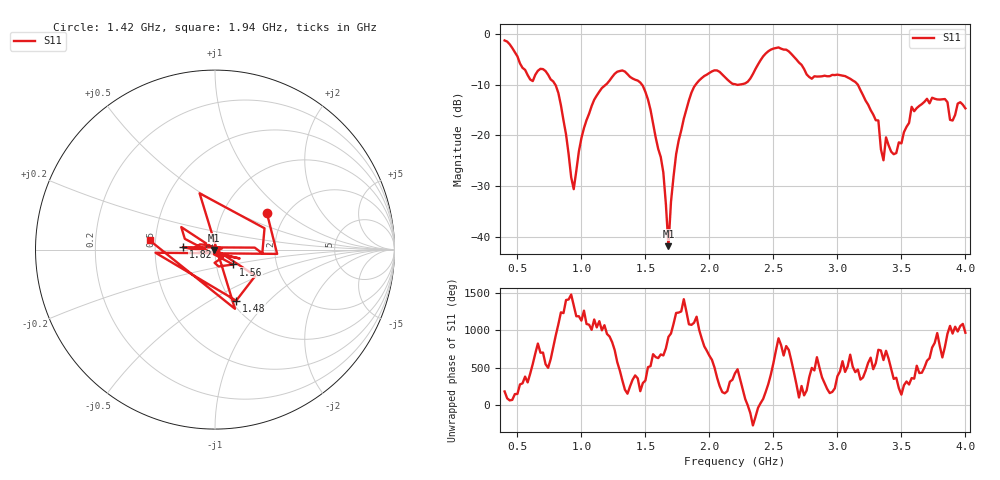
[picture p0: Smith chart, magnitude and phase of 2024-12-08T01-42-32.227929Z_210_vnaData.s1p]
!Created with skrf (http://scikit-rf.org).
# Hz S RI R 50.0
!freq ReS11 ImS11
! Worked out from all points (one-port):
!   181 points, 400 MHz to 4 GHz, reference 50 ohm
!   lowest |S11| = -41.8 dB at 1.68 GHz (marker M1), VSWR 1.02, Z = 49.2 - j0.187 ohm
!   |S11| at or under -10 dB: 795.8 MHz to 1.191 GHz (395 MHz wide, 39.8 % of centre); 1.473 GHz to 1.893 GHz (419.9 MHz wide, 25 % of centre); 3.16 GHz to end of sweep (the widest 3 of 4)
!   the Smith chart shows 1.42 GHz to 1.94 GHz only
!   S11 on the Smith chart (normalised r, x): 1.42 GHz: 1.60, +0.75; 1.48 GHz: 1.05, -0.66; 1.56 GHz: 1.21, -0.20; 1.82 GHz: 0.70, +0.02; 1.94 GHz: 0.46, +0.05
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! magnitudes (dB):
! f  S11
! 400 MHz  -1.3
! 600 MHz  -9.0
! 780 MHz  -9.4
! 860 MHz  -17.0
! 940 MHz  -30.6
! 1.08 GHz  -14.2
! 1.3 GHz  -7.3
! 1.42 GHz  -9.0
! 1.48 GHz  -10.2
! 1.56 GHz  -17.7
! 1.64 GHz  -27.3
! 1.68 GHz  -41.8
! 1.7 GHz  -33.1
! 1.76 GHz  -21.0
! 1.82 GHz  -14.9
! 1.94 GHz  -8.7
! 2.2 GHz  -9.9
! 2.48 GHz  -3.1
! 2.66 GHz  -4.5
! 3.1 GHz  -8.8
! 3.32 GHz  -17.1
! 3.36 GHz  -24.9
! 3.38 GHz  -20.4
! 3.46 GHz  -23.5
! 3.56 GHz  -17.5
! 3.7 GHz  -12.8
! 3.9 GHz  -17.1
! 4 GHz  -14.7
